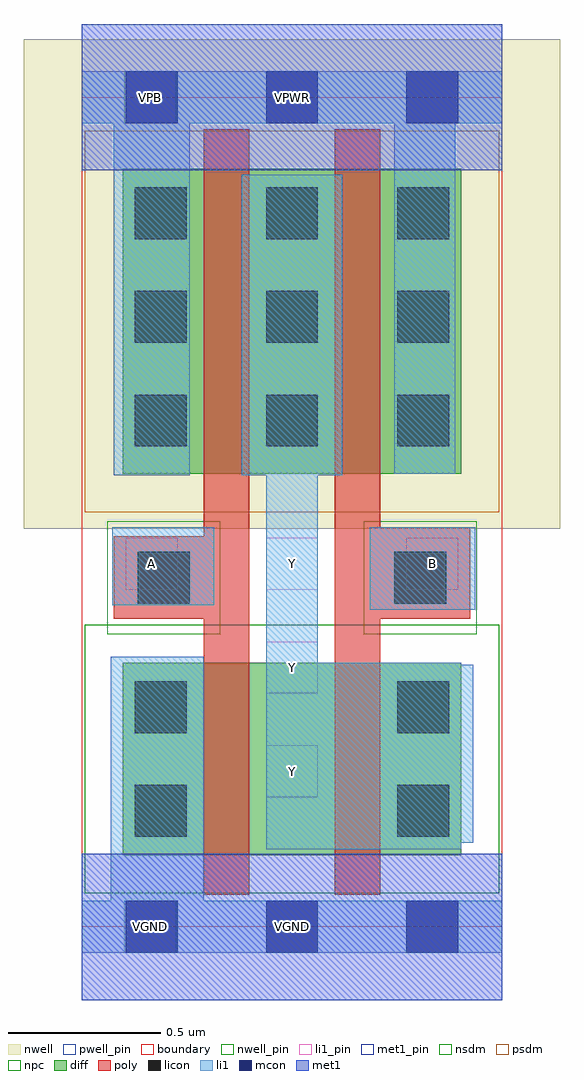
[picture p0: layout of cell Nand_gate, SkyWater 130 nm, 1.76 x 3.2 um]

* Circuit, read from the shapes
.subckt Nand_gate A B VGND VNB VPB VPWR Y
XM1 n1 A VGND VNB sky130_fd_pr__nfet_01v8 w=0.63 l=0.15
XM2 Y B n1 VNB sky130_fd_pr__nfet_01v8 w=0.63 l=0.15
XM3 Y A VPWR VPB sky130_fd_pr__pfet_01v8 w=1 l=0.15
XM4 VPWR B Y VPB sky130_fd_pr__pfet_01v8 w=1 l=0.15
.ends

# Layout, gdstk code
import gdstk
lib = gdstk.Library(unit=1e-6, precision=1e-09)
def R(c, l, rs):  # rectangles x0, y0, x1, y1
    for r in rs: c.add(gdstk.rectangle(r[:2], r[2:], *l))
def A(c, l, x, y, w, h, nx, ny, dx, dy):  # array of equal rectangles
    R(c, l, [(x+i*dx, y+j*dy, x+i*dx+w, y+j*dy+h) for i in range(nx) for j in range(ny)])
nwell_pin = (64, 16)
nwell = (64, 20)
diff = (65, 20)
poly = (66, 20)
licon = (66, 44)
li1_pin = (67, 16)
li1 = (67, 20)
mcon = (67, 44)
met1_pin = (68, 16)
met1 = (68, 20)
nsdm = (93, 44)
psdm = (94, 20)
npc = (95, 20)
pwell_pin = (122, 16)
boundary = (235, 4)

nand_gate = lib.new_cell('Nand_gate')
R(nand_gate, nwell_pin, [(0.14,2.635,0.31,2.805)])
R(nand_gate, nwell, [(-0.19,1.305,1.57,2.91)])
R(nand_gate, diff, [(0.135,0.235,1.245,0.865), (0.135,1.485,1.245,2.485)])
R(nand_gate, poly, [(0.4,0.105,0.55,1.01), (0.83,0.105,0.98,1.01), (0.105,1.01,0.55,1.28), (0.83,1.01,1.275,1.31), (0.4,1.28,0.55,2.615), (0.83,1.31,0.98,2.615)])
A(nand_gate, licon, 0.175, 1.575, 0.17, 0.17, 3, 3, 0.43, 0.34)
R(nand_gate, licon, [(0.175,0.295,0.345,0.465), (1.035,0.295,1.205,0.465), (0.175,0.635,0.345,0.805), (1.035,0.635,1.205,0.805), (0.185,1.06,0.355,1.23), (1.025,1.06,1.195,1.23)])
A(nand_gate, li1_pin, 0.145, 1.105, 0.17, 0.17, 3, 1, 0.46, 0)
R(nand_gate, li1_pin, [(0.605,0.425,0.775,0.595), (0.605,0.765,0.775,0.935)])
R(nand_gate, li1, [(0,-0.085,1.38,0.085), (0.095,0.085,0.4,0.885), (0.605,0.255,1.245,0.275), (0.605,0.275,1.285,0.86), (0.605,0.86,1.245,0.865), (0.605,0.865,0.775,1.48), (0.945,1.04,1.29,1.31), (0.1,1.055,0.435,1.31), (0.105,1.48,0.355,2.635), (0.525,1.48,0.855,2.465), (1.025,1.485,1.225,2.635), (0,2.635,1.38,2.805)])
A(nand_gate, mcon, 0.145, -0.085, 0.17, 0.17, 3, 2, 0.46, 2.72)
R(nand_gate, met1_pin, [(0,-0.24,1.38,0.24), (0.14,-0.085,0.31,0.085), (0,2.48,1.38,2.96), (0.14,2.635,0.31,2.805)])
R(nand_gate, met1, [(0,-0.24,1.38,0.24), (0,2.48,1.38,2.96)])
R(nand_gate, nsdm, [(0.01,0.11,1.37,0.99)])
R(nand_gate, psdm, [(0.01,1.36,1.37,2.61)])
R(nand_gate, npc, [(0.085,0.96,0.455,1.33), (0.925,0.96,1.295,1.33)])
R(nand_gate, pwell_pin, [(0.14,-0.085,0.31,0.085)])
R(nand_gate, boundary, [(0,0,1.38,2.72)])
nand_gate.add(gdstk.Label('VGND', (0.225,0), layer=68, texttype=5))
nand_gate.add(gdstk.Label('VGND', (0.69,0), layer=68, texttype=5))
nand_gate.add(gdstk.Label('VNB', (0.225,0), layer=64, texttype=59))
nand_gate.add(gdstk.Label('VPB', (0.225,2.72), layer=64, texttype=5))
nand_gate.add(gdstk.Label('VPWR', (0.69,2.72), layer=68, texttype=5))
nand_gate.add(gdstk.Label('VPWR', (0.225,2.72), layer=68, texttype=5))
nand_gate.add(gdstk.Label('A', (0.23,1.19), layer=67, texttype=5))
nand_gate.add(gdstk.Label('Y', (0.69,0.85), layer=67, texttype=5))
nand_gate.add(gdstk.Label('Y', (0.69,1.19), layer=67, texttype=5))
nand_gate.add(gdstk.Label('Y', (0.69,0.51), layer=67, texttype=5))
nand_gate.add(gdstk.Label('B', (1.15,1.19), layer=67, texttype=5))

lib.write_gds('Nand_gate.gds')
